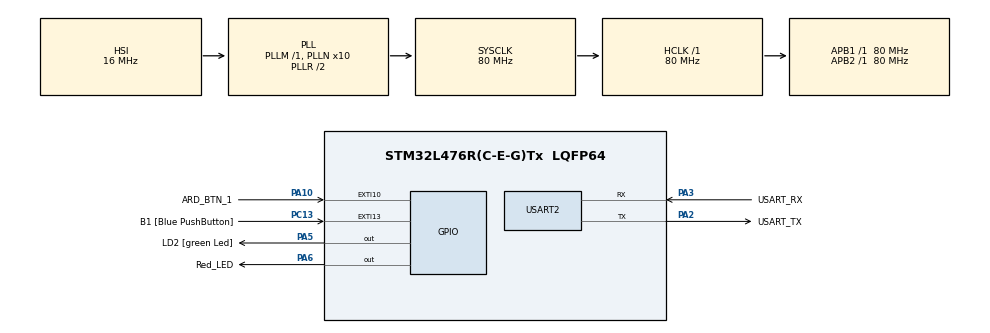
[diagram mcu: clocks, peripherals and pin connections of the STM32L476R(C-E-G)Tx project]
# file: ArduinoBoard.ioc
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Mcu.Family=STM32L4
Mcu.Name=STM32L476R(C-E-G)Tx
Mcu.Package=LQFP64
NVIC.EXTI15_10_IRQn=true\:0\:0\:false\:false\:true\:true\:true\:true
NVIC.PriorityGroup=NVIC_PRIORITYGROUP_4
NVIC.TIM4_IRQn=true\:0\:0\:false\:false\:true\:true\:true\:true
NVIC.USART2_IRQn=true\:0\:0\:false\:false\:true\:true\:true\:true
PA10.GPIO_Label=ARD_BTN_1
PA10.GPIO_ModeDefaultEXTI=GPIO_MODE_IT_RISING_FALLING
PA10.Signal=GPXTI10
PA13\ (JTMS-SWDIO).GPIO_Label=TMS
PA13\ (JTMS-SWDIO).Mode=Serial_Wire
PA13\ (JTMS-SWDIO).Signal=SYS_JTMS-SWDIO
PA14\ (JTCK-SWCLK).GPIO_Label=TCK
PA14\ (JTCK-SWCLK).Mode=Serial_Wire
PA14\ (JTCK-SWCLK).Signal=SYS_JTCK-SWCLK
PA2.GPIO_Label=USART_TX
PA2.GPIO_Mode=GPIO_MODE_AF_PP
PA2.GPIO_PuPd=GPIO_NOPULL
PA2.GPIO_Speed=GPIO_SPEED_FREQ_VERY_HIGH
PA2.Mode=Asynchronous
PA2.Signal=USART2_TX
PA3.GPIO_Label=USART_RX
PA3.GPIO_Mode=GPIO_MODE_AF_PP
PA3.GPIO_PuPd=GPIO_NOPULL
PA3.GPIO_Speed=GPIO_SPEED_FREQ_VERY_HIGH
PA3.Mode=Asynchronous
PA3.Signal=USART2_RX
PA5.GPIO_Label=LD2 [green Led]
PA5.GPIO_ModeDefaultOutputPP=GPIO_MODE_OUTPUT_PP
PA5.GPIO_PuPd=GPIO_NOPULL
PA5.GPIO_Speed=GPIO_SPEED_FREQ_LOW
PA5.Signal=GPIO_Output
PA6.GPIO_Label=Red_LED
PA6.Signal=GPIO_Output
PB3\ (JTDO-TRACESWO).GPIO_Label=SWO
PB3\ (JTDO-TRACESWO).Signal=SYS_JTDO-SWO
PC13.GPIO_Label=B1 [Blue PushButton]
PC13.GPIO_ModeDefaultEXTI=GPIO_MODE_IT_RISING_FALLING
PC13.GPIO_PuPd=GPIO_NOPULL
PC13.Signal=GPXTI13
PC14-OSC32_IN\ (PC14).Mode=LSE-External-Oscillator
PC14-OSC32_IN\ (PC14).Signal=RCC_OSC32_IN
PC15-OSC32_OUT\ (PC15).Mode=LSE-External-Oscillator
PC15-OSC32_OUT\ (PC15).Signal=RCC_OSC32_OUT
PH0-OSC_IN\ (PH0).Signal=RCC_OSC_IN
PH1-OSC_OUT\ (PH1).Signal=RCC_OSC_OUT
ProjectManager.HeapSize=0x200
ProjectManager.StackSize=0x400
ProjectManager.TargetToolchain=STM32CubeIDE
RCC.ADCFreq_Value=64000000
RCC.AHBFreq_Value=80000000
RCC.APB1Freq_Value=80000000
RCC.APB1TimFreq_Value=80000000
RCC.APB2Freq_Value=80000000
RCC.APB2TimFreq_Value=80000000
RCC.CortexFreq_Value=80000000
RCC.HCLKFreq_Value=80000000
RCC.HSE_VALUE=8000000
RCC.HSI_VALUE=16000000
RCC.MSI_VALUE=4000000
RCC.PLLN=10
RCC.PLLSourceVirtual=RCC_PLLSOURCE_HSI
RCC.PREFETCH_ENABLE=1
RCC.SYSCLKFreq_VALUE=80000000
RCC.SYSCLKSource=RCC_SYSCLKSOURCE_PLLCLK
RCC.USBFreq_Value=64000000
RCC.VCOOutputFreq_Value=160000000
TIM4.Period=100
TIM4.Prescaler=7999
USART2.VirtualMode-Asynchronous=VM_ASYNC
VP_TIM4_VS_ClockSourceINT.Mode=Internal
board=NUCLEO-L476RG

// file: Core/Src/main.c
/* USER CODE BEGIN Header */
/**
  ******************************************************************************
  * @file           : main.c
  * @brief          : Main program body
  ******************************************************************************
  * @attention
  *
  * Copyright (c) 2022 STMicroelectronics.
  * All rights reserved.
  *
  * This software is licensed under terms that can be found in the LICENSE file
  * in the root directory of this software component.
  * If no LICENSE file comes with this software, it is provided AS-IS.
  *
  ******************************************************************************
  */
/* USER CODE END Header */
#include "main.h"

/* USER CODE BEGIN Includes */
#include "LED.h"
#include <stdio.h>
/* USER CODE END Includes */

 TIM_HandleTypeDef htim4;

UART_HandleTypeDef huart2;

void SystemClock_Config(void);
static void MX_GPIO_Init(void);
static void MX_USART2_UART_Init(void);
static void MX_TIM4_Init(void);
/* USER CODE BEGIN PFP */
#define PUTCHAR_PROTOTYPE int __io_putchar(int ch)

/* USER CODE END PFP */

/* USER CODE BEGIN 0 */

LED ledR;
LED ledB;

void HAL_TIM_PeriodElapsedCallback(TIM_HandleTypeDef * htim)
{
	ledOnTimerInterrupt(&ledR);
	ledOnTimerInterrupt(&ledB);
}

uint32_t timeIn = 0;
uint32_t button_deley_ms = 500;

// button interrupt
void HAL_GPIO_EXTI_Callback(uint16_t GPIO_Pin)
{

	if(HAL_GPIO_ReadPin(ARD_BTN_1_GPIO_Port, ARD_BTN_1_Pin) == 0)
	{
		timeIn = HAL_GetTick();
		LED_STATE stateR = changeStatus(&ledR);
		LED_STATE stateB = changeStatus(&ledB);
		if(stateB == STATE_BLINK)
		{
			  ledBlink(&ledR, 300);
		}
		if(stateR == STATE_BLINK)
		{
			  ledBlink(&ledB, 700);
		}
	}
	else
	{
		if ((HAL_GetTick() - timeIn) < button_deley_ms)
		{
			// short
			printf("short\n\r");
		}
		else
		{
			printf("long\n\r");
			//long
		}
	}

}

/* USER CODE END 0 */

int main(void)
{

  /* MCU Configuration--------------------------------------------------------*/

  /* Reset of all peripherals, Initializes the Flash interface and the Systick. */
  HAL_Init();

  /* Configure the system clock */
  SystemClock_Config();

  /* Initialize all configured peripherals */
  MX_GPIO_Init();
  MX_USART2_UART_Init();
  MX_TIM4_Init();
  /* USER CODE BEGIN 2 */
  HAL_NVIC_EnableIRQ(TIM4_IRQn); // turn on interrupts
  //HAL_TIM_Base_Start_IT(&htim4); // start interrupt clock

  ledInit(&ledB, LD2_GPIO_Port, LD2_Pin);
  ledInit(&ledR, Red_LED_GPIO_Port, Red_LED_Pin);

  ledBlink(&ledR, 300);
  ledBlink(&ledB, 700);

  /* USER CODE END 2 */

  /* Infinite loop */
  while (1)
  {

    /* USER CODE BEGIN 3 */
	  ledOnPeriodicTask(&ledB);
	  ledOnPeriodicTask(&ledR);
  }
  /* USER CODE END 3 */
}

void SystemClock_Config(void)
{
  RCC_OscInitTypeDef RCC_OscInitStruct = {0};
  RCC_ClkInitTypeDef RCC_ClkInitStruct = {0};

  /** Configure the main internal regulator output voltage
  */
  if (HAL_PWREx_ControlVoltageScaling(PWR_REGULATOR_VOLTAGE_SCALE1) != HAL_OK)
  {
    Error_Handler();
  }

  /** Initializes the RCC Oscillators according to the specified parameters
  * in the RCC_OscInitTypeDef structure.
  */
  RCC_OscInitStruct.OscillatorType = RCC_OSCILLATORTYPE_HSI;
  RCC_OscInitStruct.HSIState = RCC_HSI_ON;
  RCC_OscInitStruct.HSICalibrationValue = RCC_HSICALIBRATION_DEFAULT;
  RCC_OscInitStruct.PLL.PLLState = RCC_PLL_ON;
  RCC_OscInitStruct.PLL.PLLSource = RCC_PLLSOURCE_HSI;
  RCC_OscInitStruct.PLL.PLLM = 1;
  RCC_OscInitStruct.PLL.PLLN = 10;
  RCC_OscInitStruct.PLL.PLLP = RCC_PLLP_DIV7;
  RCC_OscInitStruct.PLL.PLLQ = RCC_PLLQ_DIV2;
  RCC_OscInitStruct.PLL.PLLR = RCC_PLLR_DIV2;
  if (HAL_RCC_OscConfig(&RCC_OscInitStruct) != HAL_OK)
  {
    Error_Handler();
  }

  /** Initializes the CPU, AHB and APB buses clocks
  */
  RCC_ClkInitStruct.ClockType = RCC_CLOCKTYPE_HCLK|RCC_CLOCKTYPE_SYSCLK
                              |RCC_CLOCKTYPE_PCLK1|RCC_CLOCKTYPE_PCLK2;
  RCC_ClkInitStruct.SYSCLKSource = RCC_SYSCLKSOURCE_PLLCLK;
  RCC_ClkInitStruct.AHBCLKDivider = RCC_SYSCLK_DIV1;
  RCC_ClkInitStruct.APB1CLKDivider = RCC_HCLK_DIV1;
  RCC_ClkInitStruct.APB2CLKDivider = RCC_HCLK_DIV1;

  if (HAL_RCC_ClockConfig(&RCC_ClkInitStruct, FLASH_LATENCY_4) != HAL_OK)
  {
    Error_Handler();
  }
}

static void MX_TIM4_Init(void)
{

  TIM_ClockConfigTypeDef sClockSourceConfig = {0};
  TIM_MasterConfigTypeDef sMasterConfig = {0};

  htim4.Instance = TIM4;
  htim4.Init.Prescaler = 7999;
  htim4.Init.CounterMode = TIM_COUNTERMODE_UP;
  htim4.Init.Period = 100;
  htim4.Init.ClockDivision = TIM_CLOCKDIVISION_DIV1;
  htim4.Init.AutoReloadPreload = TIM_AUTORELOAD_PRELOAD_DISABLE;
  if (HAL_TIM_Base_Init(&htim4) != HAL_OK)
  {
    Error_Handler();
  }
  sClockSourceConfig.ClockSource = TIM_CLOCKSOURCE_INTERNAL;
  if (HAL_TIM_ConfigClockSource(&htim4, &sClockSourceConfig) != HAL_OK)
  {
    Error_Handler();
  }
  sMasterConfig.MasterOutputTrigger = TIM_TRGO_RESET;
  sMasterConfig.MasterSlaveMode = TIM_MASTERSLAVEMODE_DISABLE;
  if (HAL_TIMEx_MasterConfigSynchronization(&htim4, &sMasterConfig) != HAL_OK)
  {
    Error_Handler();
  }

}

static void MX_USART2_UART_Init(void)
{

  huart2.Instance = USART2;
  huart2.Init.BaudRate = 115200;
  huart2.Init.WordLength = UART_WORDLENGTH_8B;
  huart2.Init.StopBits = UART_STOPBITS_1;
  huart2.Init.Parity = UART_PARITY_NONE;
  huart2.Init.Mode = UART_MODE_TX_RX;
  huart2.Init.HwFlowCtl = UART_HWCONTROL_NONE;
  huart2.Init.OverSampling = UART_OVERSAMPLING_16;
  huart2.Init.OneBitSampling = UART_ONE_BIT_SAMPLE_DISABLE;
  huart2.AdvancedInit.AdvFeatureInit = UART_ADVFEATURE_NO_INIT;
  if (HAL_UART_Init(&huart2) != HAL_OK)
  {
    Error_Handler();
  }

}

static void MX_GPIO_Init(void)
{
  GPIO_InitTypeDef GPIO_InitStruct = {0};

  /* GPIO Ports Clock Enable */
  __HAL_RCC_GPIOC_CLK_ENABLE();
  __HAL_RCC_GPIOH_CLK_ENABLE();
  __HAL_RCC_GPIOA_CLK_ENABLE();
  __HAL_RCC_GPIOB_CLK_ENABLE();

  /*Configure GPIO pin Output Level */
  HAL_GPIO_WritePin(GPIOA, LD2_Pin|Red_LED_Pin, GPIO_PIN_RESET);

  /*Configure GPIO pin : B1_Pin */
  GPIO_InitStruct.Pin = B1_Pin;
  GPIO_InitStruct.Mode = GPIO_MODE_IT_RISING_FALLING;
  GPIO_InitStruct.Pull = GPIO_NOPULL;
  HAL_GPIO_Init(B1_GPIO_Port, &GPIO_InitStruct);

  /*Configure GPIO pins : LD2_Pin Red_LED_Pin */
  GPIO_InitStruct.Pin = LD2_Pin|Red_LED_Pin;
  GPIO_InitStruct.Mode = GPIO_MODE_OUTPUT_PP;
  GPIO_InitStruct.Pull = GPIO_NOPULL;
  GPIO_InitStruct.Speed = GPIO_SPEED_FREQ_LOW;
  HAL_GPIO_Init(GPIOA, &GPIO_InitStruct);

  /*Configure GPIO pin : ARD_BTN_1_Pin */
  GPIO_InitStruct.Pin = ARD_BTN_1_Pin;
  GPIO_InitStruct.Mode = GPIO_MODE_IT_RISING_FALLING;
  GPIO_InitStruct.Pull = GPIO_NOPULL;
  HAL_GPIO_Init(ARD_BTN_1_GPIO_Port, &GPIO_InitStruct);

  /* EXTI interrupt init*/
  HAL_NVIC_SetPriority(EXTI15_10_IRQn, 0, 0);
  HAL_NVIC_EnableIRQ(EXTI15_10_IRQn);

}

/* USER CODE BEGIN 4 */
/**
  * @brief  Retargets the C library printf function to the USART.
  * @param  None
  * @retval None
  */
PUTCHAR_PROTOTYPE
{
  /* Place your implementation of fputc here */
  /* e.g. write a character to the USART1 and Loop until the end of transmission */
  HAL_UART_Transmit(&huart2, (uint8_t *)&ch, 1, 0xFFFF);

  return ch;
}
/* USER CODE END 4 */

void Error_Handler(void)
{
  __disable_irq();
  while (1)
  {
  }
}
